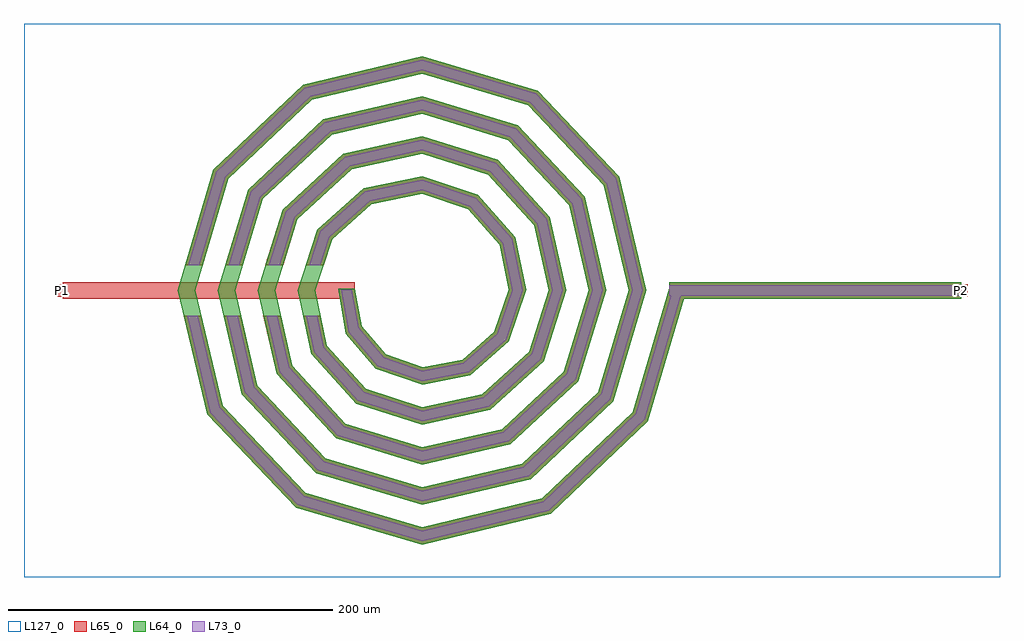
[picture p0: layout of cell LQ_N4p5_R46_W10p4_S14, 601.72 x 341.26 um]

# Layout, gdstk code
import gdstk
lib = gdstk.Library(unit=1e-6, precision=1e-09)
def R(c, l, rs):  # rectangles x0, y0, x1, y1
    for r in rs: c.add(gdstk.rectangle(r[:2], r[2:], *l))
def P(c, l, *ps):  # polygons
    for p in ps: c.add(gdstk.Polygon(p, *l))
L64_0 = (64, 0)
L65_0 = (65, 0)
L73_0 = (73, 0)
L127_0 = (127, 0)

lq_n4p5_r46_w10p4_s14 = lib.new_cell('LQ_N4p5_R46_W10p4_S14')
R(lq_n4p5_r46_w10p4_s14, L64_0, [(152.39,-5.2,332.39,5.2)])
P(lq_n4p5_r46_w10p4_s14, L64_0, [(-37.214,-21.976),(-22.283,-39.41),(0.391,-47.327),(25.018,-42.579),(44.729,-25.405),(53.495,0.35),(47.939,28.069),(28.52,50.053),(0.317,59.663),(-31.126,53.297),(-55.381,31.629),(-65.832,0.29),(-58.652,-34.188),(-34.735,-60.711),(0.267,-72.001),(37.254,-64.006),(66.043,-37.838),(78.17,0.247),(69.358,40.322),(40.938,71.377),(0.23,84.34),(-43.393,74.709),(-76.712,44.036),(-90.509,0.215),(-80.059,-46.466),(-47.132,-82.049),(0.202,-96.679),(49.54,-85.408),(87.386,-50.228),(102.849,0.191),(90.757,52.615),(53.322,92.724),(0.181,109.018),(-55.691,96.105),(-98.062,56.415),(-115.188,0.171),(-101.453,-58.768),(-59.507,-103.401),(0.163,-121.358),(61.846,-106.8),(108.74,-62.599),(127.528,0.155),(112.147,64.925),(65.69,114.08),(0.149,133.698),(-68.004,117.494),(-119.42,68.781),(-139.868,0.142),(-122.84,-71.084),(-71.871,-124.76),(0.136,-146.038),(74.164,-128.186),(130.101,-74.961),(152.601,1.469),(162.578,-1.469),(139.29,-80.573),(79.313,-137.643),(0.136,-156.802),(-77.492,-133.944),(-132.302,-76.223),(-150.632,0.142),(-128.597,74.412),(-73.132,126.961),(0.149,144.461),(71.333,123.251),(121.621,70.041),(138.291,0.155),(117.903,-68.254),(66.95,-116.281),(0.163,-132.121),(-65.175,-112.556),(-110.942,-63.858),(-125.951,0.171),(-107.208,62.098),(-60.765,105.602),(0.181,119.78),(59.021,101.859),(100.264,57.671),(113.61,0.191),(96.51,-55.945),(54.576,-94.926),(0.202,-107.439),(-52.87,-91.161),(-89.588,-51.48),(-101.269,0.215),(-85.81,49.797),(-48.383,84.251),(0.23,95.098),(46.725,80.458),(78.915,45.283),(88.927,0.247),(75.105,-43.655),(42.182,-73.581),(0.267,-82.757),(-40.587,-69.751),(-68.247,-39.077),(-76.585,0.29),(-64.394,37.523),(-35.969,62.916),(0.317,70.414),(34.462,59.035),(57.586,32.856),(64.242,0.35),(53.672,-31.407),(29.737,-52.26),(0.391,-58.07),(-28.359,-48.304),(-46.938,-26.61),(-51.643,0.937),(-41.414,0.937)])
R(lq_n4p5_r46_w10p4_s14, L65_0, [(-221.328,-5.2,-41.328,5.2), (152.39,-5.2,332.39,5.2), (-225.328,-4,-217.328,4), (328.39,-4,336.39,4)])
P(lq_n4p5_r46_w10p4_s14, L65_0, [(-122.84,-71.084),(-71.871,-124.761),(0.136,-146.038),(74.164,-128.186),(130.101,-74.961),(152.602,1.469),(162.578,-1.469),(139.29,-80.573),(79.313,-137.643),(0.136,-156.802),(-77.492,-133.944),(-132.302,-76.223),(-146.853,-15.6),(-136.158,-15.6)],
  [(-101.453,-58.768),(-59.507,-103.401),(0.163,-121.358),(61.846,-106.8),(108.74,-62.599),(127.528,0.155),(112.147,64.925),(65.69,114.08),(0.149,133.698),(-68.004,117.494),(-119.42,68.781),(-135.198,15.6),(-146.046,15.6),(-128.597,74.412),(-73.132,126.962),(0.149,144.461),(71.333,123.251),(121.621,70.041),(138.291,0.155),(117.903,-68.254),(66.95,-116.281),(0.163,-132.121),(-65.176,-112.556),(-110.942,-63.858),(-122.254,-15.6),(-111.572,-15.6)],
  [(-80.059,-46.466),(-47.132,-82.049),(0.202,-96.679),(49.54,-85.408),(87.386,-50.228),(102.849,0.191),(90.757,52.615),(53.322,92.724),(0.181,109.018),(-55.691,96.105),(-98.062,56.415),(-110.415,15.6),(-121.281,15.6),(-107.208,62.098),(-60.765,105.603),(0.181,119.78),(59.021,101.86),(100.264,57.671),(113.61,0.191),(96.51,-55.945),(54.576,-94.926),(0.202,-107.439),(-52.87,-91.161),(-89.588,-51.48),(-97.695,-15.6),(-87.033,-15.6)],
  [(-58.652,-34.188),(-34.735,-60.711),(0.267,-72.001),(37.254,-64.006),(66.043,-37.838),(78.17,0.247),(69.358,40.322),(40.938,71.377),(0.23,84.34),(-43.393,74.709),(-76.712,44.036),(-85.578,15.6),(-96.472,15.6),(-85.81,49.797),(-48.383,84.251),(0.23,95.098),(46.725,80.458),(78.915,45.283),(88.928,0.247),(75.105,-43.655),(42.182,-73.581),(0.267,-82.757),(-40.587,-69.751),(-68.247,-39.077),(-73.22,-15.6),(-62.589,-15.6)],
  [(-22.283,-39.41),(0.391,-47.327),(25.018,-42.579),(44.729,-25.405),(53.495,0.35),(47.939,28.069),(28.52,50.053),(0.317,59.663),(-31.126,53.297),(-55.381,31.629),(-60.629,15.6),(-71.573,15.6),(-64.394,37.523),(-35.969,62.916),(0.317,70.414),(34.462,59.035),(57.587,32.857),(64.242,0.35),(53.672,-31.407),(29.738,-52.26),(0.391,-58.07),(-28.359,-48.304),(-46.938,-26.61),(-51.643,0.938),(-41.414,0.938),(-37.214,-21.976)])
R(lq_n4p5_r46_w10p4_s14, L73_0, [(152.39,-3.2,332.39,3.2)])
P(lq_n4p5_r46_w10p4_s14, L73_0, [(-124.66,-72.072),(-72.952,-126.527),(0.084,-148.108),(75.154,-130.005),(131.868,-76.04),(154.52,0.904),(160.66,0.904),(137.523,-79.493),(78.323,-135.824),(0.084,-154.732),(-76.411,-132.178),(-130.482,-75.234),(-144.796,-15.6),(-138.214,-15.6)],
  [(-103.278,-59.747),(-60.597,-105.162),(0.1,-123.428),(62.828,-108.623),(110.502,-63.687),(129.598,0.096),(113.969,65.909),(66.775,115.844),(0.091,135.768),(-68.99,119.314),(-121.185,69.864),(-137.284,15.6),(-143.959,15.6),(-126.833,73.329),(-72.146,125.141),(0.091,142.391),(70.248,121.487),(119.799,69.057),(136.221,0.096),(116.141,-67.166),(65.968,-114.458),(0.1,-130.051),(-64.085,-110.795),(-109.117,-62.879),(-120.199,-15.6),(-113.626,-15.6)],
  [(-81.892,-47.43),(-48.236,-83.801),(0.125,-98.748),(50.508,-87.239),(89.141,-51.327),(104.918,0.117),(92.585,53.587),(54.418,94.481),(0.111,111.088),(-56.667,97.932),(-99.821,57.508),(-112.505,15.6),(-119.191,15.6),(-105.449,61.005),(-59.789,103.776),(0.111,117.711),(57.925,100.103),(98.436,56.699),(111.54,0.117),(94.756,-54.845),(53.608,-93.095),(0.125,-105.37),(-51.767,-89.408),(-87.756,-50.516),(-95.645,-15.6),(-89.084,-15.6)],
  [(-60.497,-35.128),(-35.86,-62.449),(0.164,-74.069),(38.202,-65.847),(67.786,-38.956),(80.239,0.152),(71.196,41.276),(42.051,73.124),(0.142,86.409),(-44.353,76.544),(-78.462,45.144),(-87.673,15.6),(-94.377,15.6),(-84.061,48.689),(-47.423,82.416),(0.142,93.029),(45.612,78.712),(77.077,44.329),(86.859,0.152),(73.363,-42.536),(41.234,-71.739),(0.164,-80.688),(-39.462,-68.012),(-66.402,-38.137),(-71.176,-15.6),(-64.634,-15.6)],
  [(-23.452,-41.12),(0.241,-49.393),(25.925,-44.441),(46.449,-26.559),(55.562,0.216),(49.795,28.99),(29.663,51.78),(0.195,61.731),(-32.057,55.147),(-57.114,32.763),(-62.734,15.6),(-69.468,15.6),(-62.661,36.389),(-35.038,61.066),(0.195,68.347),(33.319,57.308),(55.731,31.936),(62.176,0.216),(51.952,-30.253),(28.83,-50.398),(0.241,-56.004),(-27.19,-46.594),(-45.068,-25.719),(-49.676,0.577),(-43.381,0.577),(-39.084,-22.867)])
R(lq_n4p5_r46_w10p4_s14, L127_0, [(-245.328,-176.802,356.39,164.461)])
lq_n4p5_r46_w10p4_s14.add(gdstk.Label('P2', (332.39,0), layer=65, texttype=0))
lq_n4p5_r46_w10p4_s14.add(gdstk.Label('P1', (-221.328,0), layer=65, texttype=0))
lq_n4p5_r46_w10p4_s14.add(gdstk.Label('P2', (336.39,0), layer=145, texttype=0))
lq_n4p5_r46_w10p4_s14.add(gdstk.Label('P1', (-225.328,0), layer=145, texttype=0))

lib.write_gds('LQ_N4p5_R46_W10p4_S14.gds')
